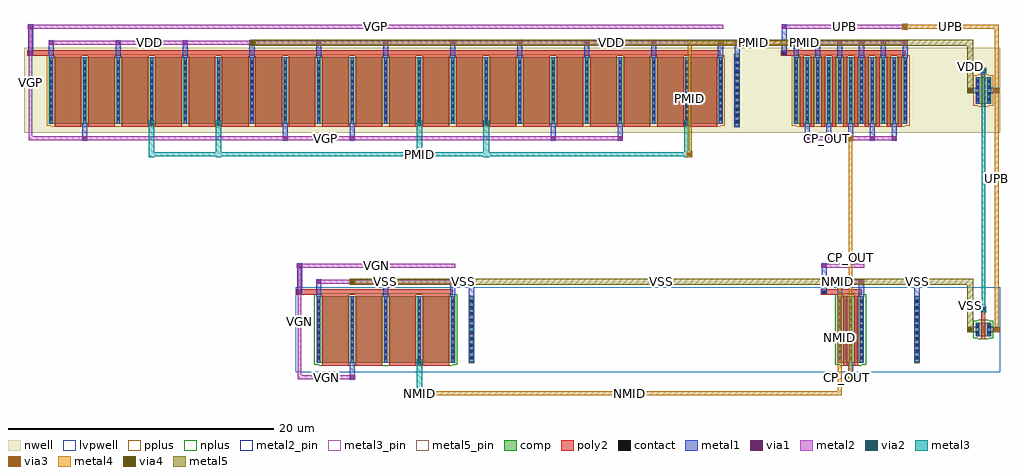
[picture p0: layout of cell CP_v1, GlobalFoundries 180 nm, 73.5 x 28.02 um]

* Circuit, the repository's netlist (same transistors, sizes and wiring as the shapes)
* CP_v1 -- LVS golden netlist for the charge-pump layout (Aug-14, full-custom analog)
* 8 transistors. PARTITION DECIDED (Greg, 2026-08-05): TWO CURRENT PORTS into the
* block -- VGP feeds diode ref M_PREF, VGN feeds diode ref M_NREF -- both driven by
* the chip-level IBIAS generator (block ports, NOT pads; pin count unaffected). The
* schematic's ideal I_CP=50uA sources (I_PREF/I_NREF) are NOT laid out; the IBIAS
* generator sinks I_CP from VGP and sources I_CP into VGN externally. Devices are
* UNCHANGED from the characterized CP_v1; only the port list differs (VGP/VGN exposed).
.subckt CP_v1 UP DOWN CP_OUT VDD VSS VGP VGN
* --- PMOS current mirror (sources I_CP when UP) --- MATCH M_PREF <-> M_PSRC
XM_PREF VGP  VGP  VDD VDD pfet_03v3 L=2u   W=50u  nf=1  m=1
XM_PSRC PMID VGP  VDD VDD pfet_03v3 L=2u   W=50u  nf=1  m=1
XM_PSW  CP_OUT UP_B PMID VDD pfet_03v3 L=0.3u W=50u nf=1 m=1
* --- NMOS current mirror (sinks I_CP when DOWN) --- MATCH M_NREF <-> M_NSNK
XM_NREF VGN  VGN  VSS VSS nfet_03v3 L=2u   W=10u  nf=1  m=1
XM_NSNK NMID VGN  VSS VSS nfet_03v3 L=2u   W=10u  nf=1  m=1
XM_NSW  CP_OUT DOWN NMID VSS nfet_03v3 L=0.3u W=10u nf=1 m=1
* --- UP inverter (UP -> UP_B for the pmos switch) ---
XM_INVP UP_B UP VDD VDD pfet_03v3 L=0.3u W=2u nf=1 m=1
XM_INVN UP_B UP VSS VSS nfet_03v3 L=0.3u W=1u nf=1 m=1
.ends CP_v1

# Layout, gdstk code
import gdstk
lib = gdstk.Library(unit=1e-6, precision=1e-09)
def R(c, l, rs):  # rectangles x0, y0, x1, y1
    for r in rs: c.add(gdstk.rectangle(r[:2], r[2:], *l))
def A(c, l, x, y, w, h, nx, ny, dx, dy):  # array of equal rectangles
    R(c, l, [(x+i*dx, y+j*dy, x+i*dx+w, y+j*dy+h) for i in range(nx) for j in range(ny)])
nwell = (21, 0)
comp = (22, 0)
poly2 = (30, 0)
pplus = (31, 0)
nplus = (32, 0)
contact = (33, 0)
metal1 = (34, 0)
via1 = (35, 0)
metal2 = (36, 0)
metal2_pin = (36, 10)
via2 = (38, 0)
via3 = (40, 0)
via4 = (41, 0)
metal3 = (42, 0)
metal3_pin = (42, 10)
metal4 = (46, 0)
metal5 = (81, 0)
metal5_pin = (81, 10)
lvpwell = (204, 0)

cp_v1 = lib.new_cell('CP_v1')
R(cp_v1, nwell, [(-27.25,-3.2,46.25,3.2)])
R(cp_v1, comp, [(-5.22,-20.5,5.22,-15.5), (6.27,-20.5,6.63,-15.5), (34,-20.5,36,-15.5), (39.82,-20.5,40.18,-15.5), (44.41,-18.5,45.59,-17.5), (26.27,-2.75,26.63,2.75), (-25.38,-2.5,25.38,2.5), (30.72,-2.5,39.28,2.5), (44.41,-1,45.59,1)])
A(cp_v1, poly2, -4.78, -20.72, 2, 5.33, 4, 1, 2.52, 0)
A(cp_v1, poly2, -24.94, -2.72, 2, 5.33, 20, 1, 2.52, 0)
A(cp_v1, poly2, 31.16, -2.72, 0.3, 5.33, 10, 1, 0.82, 0)
R(cp_v1, poly2, [(34.44,-20.72,34.74,-15.39), (35.26,-20.72,35.56,-15.39), (44.85,-18.72,45.15,-16.7), (44.81,-16.7,45.19,-16.3), (-6.75,-15.39,5.04,-14.97), (32.75,-15.39,35.82,-14.97), (44.85,-1.22,45.15,1.3), (44.81,1.3,45.19,1.7), (-27,2.61,25.2,3.03), (29.75,2.61,39.1,3.03)])
R(cp_v1, pplus, [(6.24,-20.53,6.66,-15.47), (39.79,-20.53,40.21,-15.47), (-25.17,-2.73,25.17,-2.66), (30.93,-2.73,39.07,-2.66), (-25.54,-2.66,25.54,2.66), (30.56,-2.66,39.44,2.66), (44.62,-1.23,45.38,-1.16), (44.25,-1.16,45.75,1.16), (44.62,1.16,45.38,1.23), (-25.17,2.66,25.17,2.73), (30.93,2.66,39.07,2.73)])
R(cp_v1, nplus, [(-5.01,-20.73,5.01,-20.66), (34.21,-20.73,35.79,-20.66), (-5.38,-20.66,5.38,-15.34), (33.84,-20.66,36.16,-15.34), (44.62,-18.73,45.38,-18.66), (44.25,-18.66,45.75,-17.34), (44.62,-17.34,45.38,-17.27), (-5.01,-15.34,5.01,-15.27), (34.21,-15.34,35.79,-15.27), (26.24,-2.78,26.66,2.78)])
A(cp_v1, contact, -5.15, -20.225, 0.22, 0.22, 5, 10, 2.52, 0.47)
A(cp_v1, contact, 6.34, -20.225, 0.22, 0.22, 1, 10, 0, 0.47)
A(cp_v1, contact, 34.07, -20.225, 0.22, 0.22, 3, 10, 0.82, 0.47)
A(cp_v1, contact, 39.89, -20.225, 0.22, 0.22, 1, 10, 0, 0.47)
A(cp_v1, contact, 26.34, -2.46, 0.22, 0.22, 1, 11, 0, 0.47)
A(cp_v1, contact, -25.31, -2.225, 0.22, 0.22, 21, 10, 2.52, 0.47)
A(cp_v1, contact, 30.79, -2.225, 0.22, 0.22, 11, 10, 0.82, 0.47)
A(cp_v1, contact, 44.48, -0.815, 0.22, 0.22, 1, 4, 0, 0.47)
A(cp_v1, contact, 45.3, -0.815, 0.22, 0.22, 1, 4, 0, 0.47)
R(cp_v1, contact, [(44.48,-18.345,44.7,-18.125), (45.3,-18.345,45.52,-18.125), (44.48,-17.875,44.7,-17.655), (45.3,-17.875,45.52,-17.655), (44.89,-16.615,45.11,-16.395), (-6.61,-15.29,-6.39,-15.07), (32.89,-15.29,33.11,-15.07), (44.89,1.385,45.11,1.605), (-26.86,2.71,-26.64,2.93), (29.89,2.71,30.11,2.93)])
A(cp_v1, metal1, -5.155, -20.49, 0.23, 4.95, 3, 1, 5.04, 0)
A(cp_v1, metal1, -5.23, -15.54, 0.38, 1.34, 3, 1, 5.04, 0)
A(cp_v1, metal1, 31.53, -3.8, 0.38, 1.34, 5, 1, 1.64, 0)
A(cp_v1, metal1, -25.315, -2.49, 0.23, 4.95, 11, 1, 5.04, 0)
A(cp_v1, metal1, 30.785, -2.49, 0.23, 4.95, 6, 1, 1.64, 0)
A(cp_v1, metal1, 31.605, -2.46, 0.23, 4.95, 5, 1, 1.64, 0)
A(cp_v1, metal1, -25.39, 2.46, 0.38, 1.34, 11, 1, 5.04, 0)
A(cp_v1, metal1, 30.71, 2.46, 0.38, 1.34, 6, 1, 1.64, 0)
R(cp_v1, metal1, [(-2.71,-21.8,-2.33,-20.46), (34.81,-21.8,35.19,-20.46), (2.31,-20.67,2.73,-20.25), (34.065,-20.49,34.295,-15.54), (35.705,-20.49,35.935,-15.54), (6.26,-20.465,6.64,-14.26), (39.81,-20.465,40.19,-14.26), (-2.635,-20.46,-2.405,-15.51), (34.885,-20.46,35.115,-15.51), (2.405,-20.25,2.635,-15.51), (44.475,-18.49,44.705,-18.21), (45.295,-18.49,45.525,-18.21), (43.79,-18.21,44.705,-17.79), (45.295,-18.21,46.21,-17.79), (44.475,-17.79,44.705,-17.51), (45.295,-17.79,45.525,-17.51), (44.79,-16.71,45.21,-16.29), (33.99,-15.54,34.37,-14.2), (35.63,-15.54,36.01,-14.2), (-6.69,-15.3,-6.31,-13), (32.81,-15.3,33.19,-13), (-22.87,-3.8,-22.49,-2.46), (-7.75,-3.8,-7.37,-2.46), (-2.71,-3.8,-2.33,-2.46), (12.41,-3.8,12.79,-2.46), (17.45,-3.8,17.83,-2.46), (26.26,-2.715,26.64,3.74), (-17.85,-2.67,-17.43,-2.25), (-12.81,-2.67,-12.39,-2.25), (2.31,-2.67,2.73,-2.25), (7.35,-2.67,7.77,-2.25), (22.47,-2.67,22.89,-2.25), (-22.795,-2.46,-22.565,2.49), (-7.675,-2.46,-7.445,2.49), (-2.635,-2.46,-2.405,2.49), (12.485,-2.46,12.715,2.49), (17.525,-2.46,17.755,2.49), (-17.755,-2.25,-17.525,2.49), (-12.715,-2.25,-12.485,2.49), (2.405,-2.25,2.635,2.49), (7.445,-2.25,7.675,2.49), (22.565,-2.25,22.795,2.49), (44.475,-0.99,44.705,-0.21), (45.295,-0.99,45.525,-0.21), (43.79,-0.21,44.705,0.21), (45.295,-0.21,46.21,0.21), (44.475,0.21,44.705,0.99), (45.295,0.21,45.525,0.99), (44.79,1.29,45.21,1.71), (-26.94,2.7,-26.56,5), (29.81,2.7,30.19,5)])
A(cp_v1, via1, -5.17, -14.53, 0.26, 0.26, 3, 1, 5.04, 0)
A(cp_v1, via1, 31.59, -3.73, 0.26, 0.26, 5, 1, 1.64, 0)
A(cp_v1, via1, -25.33, 3.47, 0.26, 0.26, 11, 1, 5.04, 0)
A(cp_v1, via1, 30.77, 3.47, 0.26, 0.26, 6, 1, 1.64, 0)
R(cp_v1, via1, [(-2.65,-21.73,-2.39,-21.47), (34.87,-21.73,35.13,-21.47), (2.39,-20.59,2.65,-20.33), (43.87,-18.13,44.13,-17.87), (45.87,-18.13,46.13,-17.87), (44.87,-16.63,45.13,-16.37), (6.32,-14.53,6.58,-14.27), (34.05,-14.53,34.31,-14.27), (35.69,-14.53,35.95,-14.27), (39.87,-14.53,40.13,-14.27), (-6.63,-13.33,-6.37,-13.07), (32.87,-13.33,33.13,-13.07), (-22.81,-3.73,-22.55,-3.47), (-7.69,-3.73,-7.43,-3.47), (-2.65,-3.73,-2.39,-3.47), (12.47,-3.73,12.73,-3.47), (17.51,-3.73,17.77,-3.47), (-17.77,-2.59,-17.51,-2.33), (-12.73,-2.59,-12.47,-2.33), (2.39,-2.59,2.65,-2.33), (7.43,-2.59,7.69,-2.33), (22.55,-2.59,22.81,-2.33), (43.87,-0.13,44.13,0.13), (45.87,-0.13,46.13,0.13), (44.87,1.37,45.13,1.63), (26.32,3.47,26.58,3.73), (-26.88,4.67,-26.62,4.93), (29.87,4.67,30.13,4.93)])
R(cp_v1, metal2, [(-6.64,-21.74,-2.32,-21.46), (34.5,-21.74,35.5,-21.46), (-6.64,-21.46,-6.36,-13.34), (2.31,-20.67,2.73,-20.25), (43.79,-18.21,44.21,-17.79), (45.79,-18.21,46.21,-17.79), (44.79,-16.71,45.21,-16.29), (-2.71,-14.61,-2.29,-14.54), (39.79,-14.61,40.21,-14.19), (-5.24,-14.54,6.7,-14.26), (33.98,-14.54,36.02,-14.26), (-2.71,-14.26,-2.29,-14.19), (-6.7,-13.34,5.24,-13.06), (32.8,-13.34,36.02,-13.06), (-26.89,-3.74,17.84,-3.46), (31.52,-3.74,38.48,-3.46), (-26.89,-3.46,-26.61,4.66), (-17.85,-2.67,-17.43,-2.25), (-12.81,-2.67,-12.39,-2.25), (2.31,-2.67,2.73,-2.25), (7.35,-2.67,7.77,-2.25), (22.47,-2.67,22.89,-2.25), (43.79,-0.21,44.21,0.21), (45.79,-0.21,46.21,0.21), (44.79,1.29,45.21,1.71), (-10.21,3.39,-9.79,3.46), (-25.4,3.46,26.7,3.74), (30.7,3.46,39.3,3.74), (-10.21,3.74,-9.79,3.81), (-26.95,4.66,25.4,4.94), (29.8,4.66,39.3,4.94)])
R(cp_v1, metal2_pin, [(-6.7,-13.34,5.24,-13.06), (32.8,-13.34,36.02,-13.06), (31.52,-3.74,34.86,-3.46), (-26.95,4.66,25.4,4.94)])
R(cp_v1, via2, [(34.87,-21.73,35.13,-21.47), (2.39,-20.59,2.65,-20.33), (43.87,-18.13,44.13,-17.87), (45.87,-18.13,46.13,-17.87), (44.87,-16.63,45.13,-16.37), (-2.63,-14.53,-2.37,-14.27), (34.05,-14.53,34.31,-14.27), (39.87,-14.53,40.13,-14.27), (34.87,-3.73,35.13,-3.47), (-17.77,-2.59,-17.51,-2.33), (-12.73,-2.59,-12.47,-2.33), (2.39,-2.59,2.65,-2.33), (7.43,-2.59,7.69,-2.33), (22.55,-2.59,22.81,-2.33), (43.87,-0.13,44.13,0.13), (45.87,-0.13,46.13,0.13), (44.87,1.37,45.13,1.63), (-10.13,3.47,-9.87,3.73), (32.41,3.47,32.67,3.73), (38.97,4.67,39.23,4.93)])
R(cp_v1, via3, [(2.39,-22.93,2.65,-22.67), (34.87,-21.73,35.13,-21.47), (43.87,-18.13,44.13,-17.87), (45.87,-18.13,46.13,-17.87), (-2.63,-14.53,-2.37,-14.27), (34.05,-14.53,34.31,-14.27), (39.87,-14.53,40.13,-14.27), (22.75,-4.93,23.01,-4.67), (34.87,-3.73,35.13,-3.47), (43.87,-0.13,44.13,0.13), (45.87,-0.13,46.13,0.13), (-10.13,3.47,-9.87,3.73), (32.41,3.47,32.67,3.73), (38.97,4.67,39.23,4.93)])
R(cp_v1, via4, [(43.87,-18.13,44.13,-17.87), (-2.63,-14.53,-2.37,-14.27), (39.87,-14.53,40.13,-14.27), (43.87,-0.13,44.13,0.13), (-10.13,3.47,-9.87,3.73)])
R(cp_v1, metal3, [(2.31,-23.01,2.73,-20.25), (34.79,-21.81,35.21,-21.39), (43.79,-18.21,44.21,-17.79), (45.79,-18.21,46.21,-17.79), (44.79,-16.71,45.21,-16.29), (44.86,-16.29,45.14,1.29), (-2.71,-14.61,-2.29,-14.19), (33.97,-14.61,34.39,-14.19), (39.79,-14.61,40.21,-14.19), (-17.85,-5.01,-17.43,-4.94), (-12.81,-5.01,-12.39,-4.94), (2.31,-5.01,2.73,-4.94), (7.35,-5.01,7.77,-4.94), (22.47,-5.01,23.09,-4.94), (-17.85,-4.94,23.09,-4.66), (-17.85,-4.66,-17.43,-2.25), (-12.81,-4.66,-12.39,-2.25), (2.31,-4.66,2.73,-2.25), (7.35,-4.66,7.77,-2.25), (22.47,-4.66,23.09,-4.59), (22.47,-4.59,22.89,-2.25), (34.79,-3.81,35.21,-3.39), (43.79,-0.21,44.21,0.21), (45.79,-0.21,46.21,0.21), (44.79,1.29,45.21,1.71), (-10.21,3.39,-9.79,3.81), (32.33,3.39,32.75,3.81), (38.89,4.59,39.31,5.01)])
R(cp_v1, metal3_pin, [(44.86,-16.64,45.14,1.64)])
R(cp_v1, metal4, [(2.31,-23.01,2.73,-22.94), (2.31,-22.94,34.32,-22.66), (2.31,-22.66,2.73,-22.59), (34.04,-22.66,34.32,-14.61), (34.79,-21.81,35.21,-21.39), (34.86,-21.39,35.14,-3.81), (43.79,-18.21,44.21,-17.79), (45.79,-18.21,46.21,-17.79), (45.86,-17.79,46.14,-0.21), (-2.71,-14.61,-2.29,-14.19), (33.97,-14.61,34.39,-14.19), (39.79,-14.61,40.21,-14.19), (22.67,-5.01,23.09,-4.59), (22.74,-4.59,23.02,3.46), (34.79,-3.81,35.21,-3.39), (43.79,-0.21,44.21,0.21), (45.79,-0.21,46.21,0.21), (45.86,0.21,46.14,4.66), (-10.21,3.39,-9.79,3.81), (32.33,3.39,32.75,3.46), (22.74,3.46,32.75,3.74), (32.33,3.74,32.75,3.81), (38.89,4.59,39.31,4.66), (38.89,4.66,46.14,4.94), (38.89,4.94,39.31,5.01)])
R(cp_v1, metal5, [(43.78,-18.22,44.22,-14.62), (-2.72,-14.62,44.22,-14.18), (43.78,-0.22,44.22,3.38), (-10.22,3.38,44.22,3.82)])
R(cp_v1, metal5_pin, [(5.04,-14.54,6.7,-14.26), (25.4,3.46,26.7,3.74)])
R(cp_v1, lvpwell, [(-6.8,-21.2,46.25,-14.8)])
cp_v1.add(gdstk.Label('VDD', (-17.77,3.6), layer=36, texttype=0))
cp_v1.add(gdstk.Label('VGP', (-4.525,-3.6), layer=36, texttype=0))
cp_v1.add(gdstk.Label('VGP', (-26.75,0.6), layer=36, texttype=0))
cp_v1.add(gdstk.Label('PMID', (2.52,-4.8), layer=42, texttype=0))
cp_v1.add(gdstk.Label('VSS', (0,-14.4), layer=36, texttype=0))
cp_v1.add(gdstk.Label('VGN', (-4.48,-21.6), layer=36, texttype=0))
cp_v1.add(gdstk.Label('VGN', (-6.5,-17.4), layer=36, texttype=0))
cp_v1.add(gdstk.Label('NMID', (2.52,-22.8), layer=42, texttype=0))
cp_v1.add(gdstk.Label('PMID', (31.55,3.6), layer=36, texttype=0))
cp_v1.add(gdstk.Label('UPB', (34.55,4.8), layer=36, texttype=0))
cp_v1.add(gdstk.Label('NMID', (34.01,-14.4), layer=36, texttype=0))
cp_v1.add(gdstk.Label('CP_OUT', (34.68,-21.6), layer=36, texttype=0))
cp_v1.add(gdstk.Label('CP_OUT', (35,-12.6), layer=46, texttype=0))
cp_v1.add(gdstk.Label('PMID', (27.71,3.6), layer=46, texttype=0))
cp_v1.add(gdstk.Label('PMID', (22.88,-0.6), layer=46, texttype=0))
cp_v1.add(gdstk.Label('NMID', (18.35,-22.8), layer=46, texttype=0))
cp_v1.add(gdstk.Label('NMID', (34.18,-18.6), layer=46, texttype=0))
cp_v1.add(gdstk.Label('UPB', (46,-6.6), layer=46, texttype=0))
cp_v1.add(gdstk.Label('UPB', (42.55,4.8), layer=46, texttype=0))
cp_v1.add(gdstk.Label('VDD', (17,3.6), layer=81, texttype=0))
cp_v1.add(gdstk.Label('VDD', (44,1.8), layer=81, texttype=0))
cp_v1.add(gdstk.Label('VSS', (44,-16.2), layer=81, texttype=0))
cp_v1.add(gdstk.Label('VSS', (20.75,-14.4), layer=81, texttype=0))
cp_v1.add(gdstk.Label('VSS', (40,-14.4), layer=81, texttype=0))
cp_v1.add(gdstk.Label('VDD', (26.05,3.6), layer=81, texttype=10))
cp_v1.add(gdstk.Label('VSS', (5.87,-14.4), layer=81, texttype=10))
cp_v1.add(gdstk.Label('VGP', (-0.775,4.8), layer=36, texttype=10))
cp_v1.add(gdstk.Label('VGN', (-0.73,-13.2), layer=36, texttype=10))
cp_v1.add(gdstk.Label('DOWN', (34.41,-13.2), layer=36, texttype=10))
cp_v1.add(gdstk.Label('CP_OUT', (33.19,-3.6), layer=36, texttype=10))
cp_v1.add(gdstk.Label('UP', (45,-7.5), layer=42, texttype=10))

lib.write_gds('CP_v1.gds')
